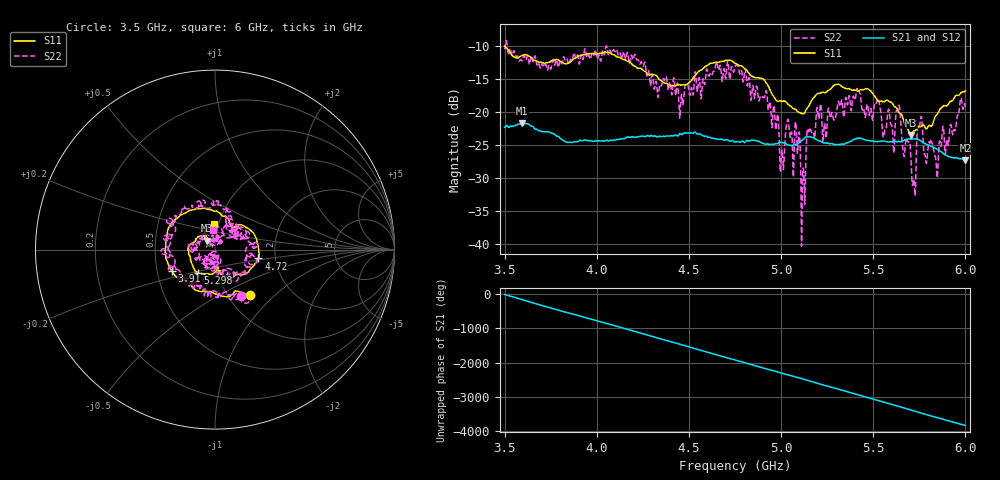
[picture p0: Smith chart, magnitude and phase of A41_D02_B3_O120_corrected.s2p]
! Created with skrf 1.9.0 (http://scikit-rf.org).
# Hz S RI R 50.0
!freq ReS11 ImS11 ReS21 ImS21 ReS12 ImS12 ReS22 ImS22
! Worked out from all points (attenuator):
!   1601 points, 3.5 GHz to 6 GHz, reference 50 ohm
!   highest |S21| = -21.72 dB at 3.592 GHz (marker M1); lowest = -27.3 dB at 6 GHz (marker M2)
!   lowest |S11| = -23.5 dB at 5.703 GHz (marker M3), VSWR 1.14, Z = 45.6 + j4.64 ohm
!   |S11| at or under -10 dB: 3.501 GHz to end of sweep
!   |S22| runs from -40.3 to -9.1 dB; largest |S21 - S12| = 0.00093
!   S11 on the Smith chart (normalised r, x): 3.5 GHz: 1.26, -0.70; 3.917 GHz: 0.60, -0.16; 4.72 GHz: 1.63, -0.17; 5.298 GHz: 0.80, -0.21; 6 GHz: 0.95, +0.28
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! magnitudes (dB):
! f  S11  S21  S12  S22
! 3.5 GHz  -10.0  -22.3  -22.3  -10.5
! 3.592 GHz  -11.5  -21.7  -21.7  -12.2
! 3.917 GHz  -11.4  -24.3  -24.3  -11.3
! 4.334 GHz  -14.9  -23.7  -23.6  -17.4
! 4.72 GHz  -12.1  -24.4  -24.4  -14.9
! 4.75 GHz  -12.6  -24.6  -24.5  -13.0
! 4.928 GHz  -15.9  -24.8  -24.8  -19.2
! 5.005 GHz  -18.3  -24.6  -24.7  -25.8
! 5.034 GHz  -18.7  -25.0  -24.9  -21.3
! 5.088 GHz  -19.9  -24.9  -24.9  -26.0
! 5.119 GHz  -20.3  -24.2  -24.1  -28.6
! 5.147 GHz  -19.2  -23.8  -23.7  -22.8
! 5.167 GHz  -18.2  -23.8  -23.8  -23.2
! 5.298 GHz  -15.8  -24.9  -24.9  -20.5
! 5.419 GHz  -16.8  -24.0  -24.0  -16.6
! 5.584 GHz  -18.4  -24.5  -24.5  -19.5
! 5.638 GHz  -20.0  -24.4  -24.4  -19.1
! 5.703 GHz  -23.5  -24.1  -24.1  -26.3
! 5.72 GHz  -22.9  -24.1  -24.0  -30.2
! 5.753 GHz  -22.2  -24.3  -24.2  -21.9
! 5.842 GHz  -20.5  -25.6  -25.5  -28.1
! 6 GHz  -16.8  -27.3  -27.2  -19.2
